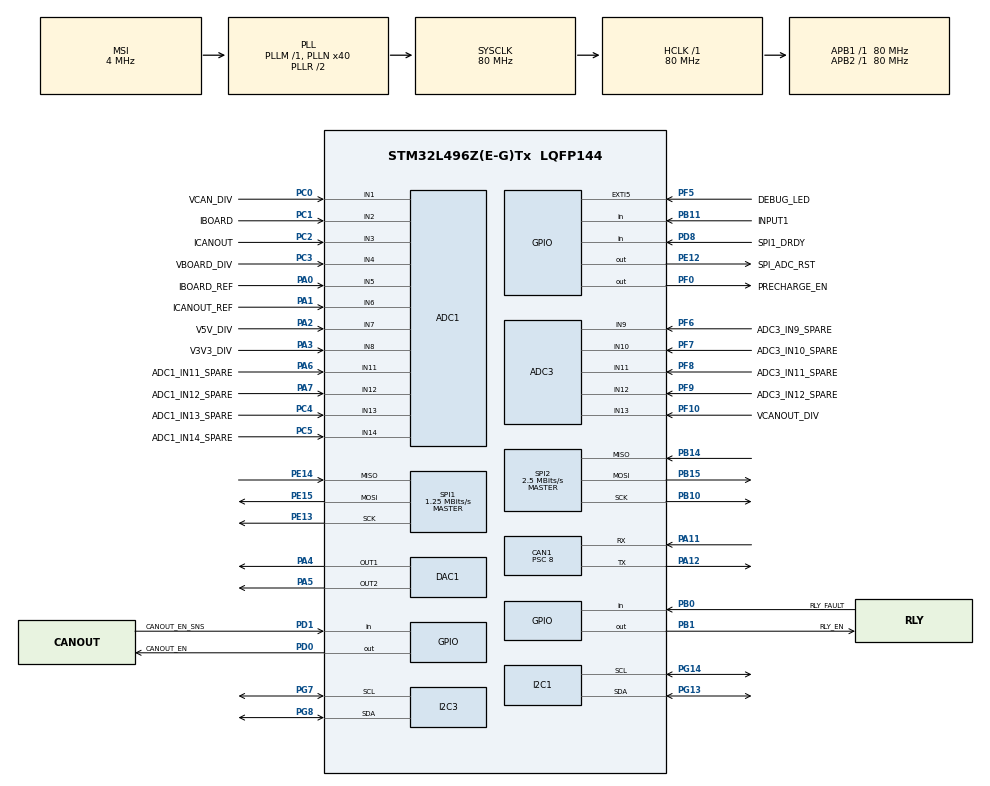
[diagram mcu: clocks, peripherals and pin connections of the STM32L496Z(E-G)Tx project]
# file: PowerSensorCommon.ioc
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ADC1.Channel-1\#ChannelRegularConversion=ADC_CHANNEL_1
ADC1.Channel-10\#ChannelRegularConversion=ADC_CHANNEL_12
ADC1.Channel-11\#ChannelRegularConversion=ADC_CHANNEL_13
ADC1.Channel-12\#ChannelRegularConversion=ADC_CHANNEL_14
ADC1.Channel-13\#ChannelRegularConversion=ADC_CHANNEL_VREFINT
ADC1.Channel-2\#ChannelRegularConversion=ADC_CHANNEL_2
ADC1.Channel-3\#ChannelRegularConversion=ADC_CHANNEL_3
ADC1.Channel-4\#ChannelRegularConversion=ADC_CHANNEL_4
ADC1.Channel-5\#ChannelRegularConversion=ADC_CHANNEL_5
ADC1.Channel-6\#ChannelRegularConversion=ADC_CHANNEL_6
ADC1.Channel-7\#ChannelRegularConversion=ADC_CHANNEL_7
ADC1.Channel-8\#ChannelRegularConversion=ADC_CHANNEL_8
ADC1.Channel-9\#ChannelRegularConversion=ADC_CHANNEL_11
ADC1.ClockPrescaler=ADC_CLOCK_ASYNC_DIV2
ADC1.ContinuousConvMode=ENABLE
ADC1.DMAContinuousRequests=ENABLE
ADC1.EOCSelection=ADC_EOC_SEQ_CONV
ADC1.NbrOfConversion=13
ADC1.NbrOfConversionFlag=1
ADC1.OffsetNumber-1\#ChannelRegularConversion=ADC_OFFSET_NONE
ADC1.OffsetNumber-10\#ChannelRegularConversion=ADC_OFFSET_NONE
ADC1.OffsetNumber-11\#ChannelRegularConversion=ADC_OFFSET_NONE
ADC1.OffsetNumber-12\#ChannelRegularConversion=ADC_OFFSET_NONE
ADC1.OffsetNumber-13\#ChannelRegularConversion=ADC_OFFSET_NONE
ADC1.OffsetNumber-2\#ChannelRegularConversion=ADC_OFFSET_NONE
ADC1.OffsetNumber-3\#ChannelRegularConversion=ADC_OFFSET_NONE
ADC1.OffsetNumber-4\#ChannelRegularConversion=ADC_OFFSET_NONE
ADC1.OffsetNumber-5\#ChannelRegularConversion=ADC_OFFSET_NONE
ADC1.OffsetNumber-6\#ChannelRegularConversion=ADC_OFFSET_NONE
ADC1.OffsetNumber-7\#ChannelRegularConversion=ADC_OFFSET_NONE
ADC1.OffsetNumber-8\#ChannelRegularConversion=ADC_OFFSET_NONE
ADC1.OffsetNumber-9\#ChannelRegularConversion=ADC_OFFSET_NONE
ADC1.OversamplingMode=ENABLE
ADC1.Rank-1\#ChannelRegularConversion=1
ADC1.Rank-10\#ChannelRegularConversion=10
ADC1.Rank-11\#ChannelRegularConversion=11
ADC1.Rank-12\#ChannelRegularConversion=12
ADC1.Rank-13\#ChannelRegularConversion=13
ADC1.Rank-2\#ChannelRegularConversion=2
ADC1.Rank-3\#ChannelRegularConversion=3
ADC1.Rank-4\#ChannelRegularConversion=4
ADC1.Rank-5\#ChannelRegularConversion=5
ADC1.Rank-6\#ChannelRegularConversion=6
ADC1.Rank-7\#ChannelRegularConversion=7
ADC1.Rank-8\#ChannelRegularConversion=8
ADC1.Rank-9\#ChannelRegularConversion=9
ADC1.Ratio=ADC_OVERSAMPLING_RATIO_256
ADC1.RightBitShift=ADC_RIGHTBITSHIFT_4
ADC1.SamplingTime-1\#ChannelRegularConversion=ADC_SAMPLETIME_247CYCLES_5
ADC1.SamplingTime-10\#ChannelRegularConversion=ADC_SAMPLETIME_247CYCLES_5
ADC1.SamplingTime-11\#ChannelRegularConversion=ADC_SAMPLETIME_247CYCLES_5
ADC1.SamplingTime-12\#ChannelRegularConversion=ADC_SAMPLETIME_247CYCLES_5
ADC1.SamplingTime-13\#ChannelRegularConversion=ADC_SAMPLETIME_247CYCLES_5
ADC1.SamplingTime-2\#ChannelRegularConversion=ADC_SAMPLETIME_247CYCLES_5
ADC1.SamplingTime-3\#ChannelRegularConversion=ADC_SAMPLETIME_247CYCLES_5
ADC1.SamplingTime-4\#ChannelRegularConversion=ADC_SAMPLETIME_247CYCLES_5
ADC1.SamplingTime-5\#ChannelRegularConversion=ADC_SAMPLETIME_247CYCLES_5
ADC1.SamplingTime-6\#ChannelRegularConversion=ADC_SAMPLETIME_247CYCLES_5
ADC1.SamplingTime-7\#ChannelRegularConversion=ADC_SAMPLETIME_247CYCLES_5
ADC1.SamplingTime-8\#ChannelRegularConversion=ADC_SAMPLETIME_247CYCLES_5
ADC1.SamplingTime-9\#ChannelRegularConversion=ADC_SAMPLETIME_247CYCLES_5
ADC1.master=1
ADC3.Channel-0\#ChannelRegularConversion=ADC_CHANNEL_9
ADC3.Channel-1\#ChannelRegularConversion=ADC_CHANNEL_10
ADC3.Channel-2\#ChannelRegularConversion=ADC_CHANNEL_11
ADC3.Channel-3\#ChannelRegularConversion=ADC_CHANNEL_12
ADC3.Channel-4\#ChannelRegularConversion=ADC_CHANNEL_13
ADC3.ClockPrescaler=ADC_CLOCK_ASYNC_DIV2
ADC3.ContinuousConvMode=ENABLE
ADC3.DMAContinuousRequests=ENABLE
ADC3.EOCSelection=ADC_EOC_SEQ_CONV
ADC3.NbrOfConversion=5
ADC3.NbrOfConversionFlag=1
ADC3.OffsetNumber-0\#ChannelRegularConversion=ADC_OFFSET_NONE
ADC3.OffsetNumber-1\#ChannelRegularConversion=ADC_OFFSET_NONE
ADC3.OffsetNumber-2\#ChannelRegularConversion=ADC_OFFSET_NONE
ADC3.OffsetNumber-3\#ChannelRegularConversion=ADC_OFFSET_NONE
ADC3.OffsetNumber-4\#ChannelRegularConversion=ADC_OFFSET_NONE
ADC3.OversamplingMode=ENABLE
ADC3.Rank-0\#ChannelRegularConversion=1
ADC3.Rank-1\#ChannelRegularConversion=2
ADC3.Rank-2\#ChannelRegularConversion=3
ADC3.Rank-3\#ChannelRegularConversion=4
ADC3.Rank-4\#ChannelRegularConversion=5
ADC3.Ratio=ADC_OVERSAMPLING_RATIO_256
ADC3.RightBitShift=ADC_RIGHTBITSHIFT_4
ADC3.SamplingTime-0\#ChannelRegularConversion=ADC_SAMPLETIME_247CYCLES_5
ADC3.SamplingTime-1\#ChannelRegularConversion=ADC_SAMPLETIME_247CYCLES_5
ADC3.SamplingTime-2\#ChannelRegularConversion=ADC_SAMPLETIME_247CYCLES_5
ADC3.SamplingTime-3\#ChannelRegularConversion=ADC_SAMPLETIME_247CYCLES_5
ADC3.SamplingTime-4\#ChannelRegularConversion=ADC_SAMPLETIME_247CYCLES_5
CAN1.BS1=CAN_BS1_4TQ
CAN1.BS2=CAN_BS2_5TQ
CAN1.CalculateBaudRate=1000000
CAN1.CalculateTimeBit=1000
CAN1.CalculateTimeQuantum=100.0
CAN1.Prescaler=8
DAC1.DAC_Channel-DAC_OUT2=DAC_CHANNEL_2
Dma.ADC1.0.Direction=DMA_PERIPH_TO_MEMORY
Dma.ADC1.0.Instance=DMA1_Channel1
Dma.ADC1.0.MemDataAlignment=DMA_MDATAALIGN_WORD
Dma.ADC1.0.MemInc=DMA_MINC_ENABLE
Dma.ADC1.0.Mode=DMA_CIRCULAR
Dma.ADC1.0.PeriphDataAlignment=DMA_PDATAALIGN_WORD
Dma.ADC1.0.PeriphInc=DMA_PINC_DISABLE
Dma.ADC1.0.Priority=DMA_PRIORITY_LOW
Dma.ADC3.1.Direction=DMA_PERIPH_TO_MEMORY
Dma.ADC3.1.Instance=DMA1_Channel3
Dma.ADC3.1.MemDataAlignment=DMA_MDATAALIGN_WORD
Dma.ADC3.1.MemInc=DMA_MINC_ENABLE
Dma.ADC3.1.Mode=DMA_CIRCULAR
Dma.ADC3.1.PeriphDataAlignment=DMA_PDATAALIGN_WORD
Dma.ADC3.1.PeriphInc=DMA_PINC_DISABLE
Dma.ADC3.1.Priority=DMA_PRIORITY_LOW
Dma.Request0=ADC1
Dma.Request1=ADC3
I2C1.Timing=0x10909CEC
I2C3.Timing=0x10909CEC
Mcu.Family=STM32L4
Mcu.Name=STM32L496Z(E-G)Tx
Mcu.Package=LQFP144
NVIC.CAN1_RX0_IRQn=true\:0\:0\:false\:false\:true\:true\:true\:true
NVIC.CAN1_RX1_IRQn=true\:0\:0\:false\:false\:true\:true\:true\:true
NVIC.DMA1_Channel1_IRQn=true\:0\:0\:false\:false\:true\:false\:true\:true
NVIC.DMA1_Channel3_IRQn=true\:0\:0\:false\:false\:true\:false\:true\:true
NVIC.PriorityGroup=NVIC_PRIORITYGROUP_4
PA0.GPIO_Label=IBOARD_REF
PA0.Signal=ADCx_IN5
PA1.GPIO_Label=ICANOUT_REF
PA1.Signal=ADCx_IN6
PA11.Mode=CAN_Activate
PA11.Signal=CAN1_RX
PA12.Mode=CAN_Activate
PA12.Signal=CAN1_TX
PA13\ (JTMS/SWDIO).Mode=Serial_Wire
PA13\ (JTMS/SWDIO).Signal=SYS_JTMS-SWDIO
PA14\ (JTCK/SWCLK).Mode=Serial_Wire
PA14\ (JTCK/SWCLK).Signal=SYS_JTCK-SWCLK
PA2.GPIO_Label=V5V_DIV
PA2.Signal=ADCx_IN7
PA3.GPIO_Label=V3V3_DIV
PA3.Signal=ADCx_IN8
PA4.Signal=COMP_DAC11_group
PA5.Signal=COMP_DAC12_group
PA6.GPIO_Label=ADC1_IN11_SPARE
PA6.Signal=ADCx_IN11
PA7.GPIO_Label=ADC1_IN12_SPARE
PA7.Signal=ADCx_IN12
PB0.GPIO_Label=RLY_FAULT
PB0.Signal=GPIO_Input
PB1.GPIO_Label=RLY_EN
PB1.Signal=GPIO_Output
PB10.Mode=Full_Duplex_Master
PB10.Signal=SPI2_SCK
PB11.GPIO_Label=INPUT1
PB11.Signal=GPIO_Input
PB12.Signal=CAN2_RX
PB14.Mode=Full_Duplex_Master
PB14.Signal=SPI2_MISO
PB15.Mode=Full_Duplex_Master
PB15.Signal=SPI2_MOSI
PC0.GPIO_Label=VCAN_DIV
PC0.Signal=ADCx_IN1
PC1.GPIO_Label=IBOARD
PC1.Signal=ADCx_IN2
PC2.GPIO_Label=ICANOUT
PC2.Signal=ADCx_IN3
PC3.GPIO_Label=VBOARD_DIV
PC3.Signal=ADCx_IN4
PC4.GPIO_Label=ADC1_IN13_SPARE
PC4.Signal=ADCx_IN13
PC5.GPIO_Label=ADC1_IN14_SPARE
PC5.Signal=ADCx_IN14
PD0.GPIO_Label=CANOUT_EN
PD0.Signal=GPIO_Output
PD1.GPIO_Label=CANOUT_EN_SNS
PD1.Signal=GPIO_Input
PD8.GPIO_Label=SPI1_DRDY
PD8.Signal=GPIO_Input
PE12.GPIO_Label=SPI_ADC_RST
PE12.Signal=GPIO_Output
PE13.Mode=Full_Duplex_Master
PE13.Signal=SPI1_SCK
PE14.Mode=Full_Duplex_Master
PE14.Signal=SPI1_MISO
PE15.Mode=Full_Duplex_Master
PE15.Signal=SPI1_MOSI
PF0.GPIO_Label=PRECHARGE_EN
PF0.Signal=GPIO_Output
PF10.GPIO_Label=VCANOUT_DIV
PF10.Mode=IN13-Single-Ended
PF10.Signal=ADC3_IN13
PF5.GPIO_Label=DEBUG_LED
PF5.Signal=GPXTI5
PF6.GPIO_Label=ADC3_IN9_SPARE
PF6.Mode=IN9-Single-Ended
PF6.Signal=ADC3_IN9
PF7.GPIO_Label=ADC3_IN10_SPARE
PF7.Mode=IN10-Single-Ended
PF7.Signal=ADC3_IN10
PF8.GPIO_Label=ADC3_IN11_SPARE
PF8.Mode=IN11-Single-Ended
PF8.Signal=ADC3_IN11
PF9.GPIO_Label=ADC3_IN12_SPARE
PF9.Mode=IN12-Single-Ended
PF9.Signal=ADC3_IN12
PG13.Mode=I2C
PG13.Signal=I2C1_SDA
PG14.Mode=I2C
PG14.Signal=I2C1_SCL
PG7.Mode=I2C
PG7.Signal=I2C3_SCL
PG8.Mode=I2C
PG8.Signal=I2C3_SDA
PH0-OSC_IN\ (PH0).Mode=HSE-External-Oscillator
PH0-OSC_IN\ (PH0).Signal=RCC_OSC_IN
PH1-OSC_OUT\ (PH1).Mode=HSE-External-Oscillator
PH1-OSC_OUT\ (PH1).Signal=RCC_OSC_OUT
ProjectManager.HeapSize=0x200
ProjectManager.StackSize=0x400
ProjectManager.TargetToolchain=STM32CubeIDE
RCC.ADCFreq_Value=32000000
RCC.AHBFreq_Value=80000000
RCC.APB1Freq_Value=80000000
RCC.APB1TimFreq_Value=80000000
RCC.APB2Freq_Value=80000000
RCC.APB2TimFreq_Value=80000000
RCC.CortexFreq_Value=80000000
RCC.HCLKFreq_Value=80000000
RCC.HSE_Timout=500
RCC.HSE_VALUE=8000000
RCC.HSI48_VALUE=48000000
RCC.HSI_VALUE=16000000
RCC.LSE_VALUE=32768
RCC.MSI_VALUE=4000000
RCC.PLLN=40
RCC.PLLSAI1N=16
RCC.SYSCLKFreq_VALUE=80000000
RCC.SYSCLKSource=RCC_SYSCLKSOURCE_PLLCLK
RCC.USBFreq_Value=32000000
RCC.VCOOutputFreq_Value=160000000
SH.ADCx_IN1.0=ADC1_IN1,IN1-Single-Ended
SH.ADCx_IN11.0=ADC1_IN11,IN11-Single-Ended
SH.ADCx_IN12.0=ADC1_IN12,IN12-Single-Ended
SH.ADCx_IN13.0=ADC1_IN13,IN13-Single-Ended
SH.ADCx_IN14.0=ADC1_IN14,IN14-Single-Ended
SH.ADCx_IN2.0=ADC2_IN2
SH.ADCx_IN2.1=ADC1_IN2,IN2-Single-Ended
SH.ADCx_IN3.0=ADC3_IN3
SH.ADCx_IN3.1=ADC1_IN3,IN3-Single-Ended
SH.ADCx_IN4.0=ADC3_IN4
SH.ADCx_IN4.1=ADC1_IN4,IN4-Single-Ended
SH.ADCx_IN5.0=ADC2_IN5
SH.ADCx_IN5.1=ADC1_IN5,IN5-Single-Ended
SH.ADCx_IN6.0=ADC2_IN6
SH.ADCx_IN6.1=ADC1_IN6,IN6-Single-Ended
SH.ADCx_IN7.0=ADC2_IN7
SH.ADCx_IN7.1=ADC1_IN7,IN7-Single-Ended
SH.ADCx_IN8.0=ADC2_IN8
SH.ADCx_IN8.1=ADC1_IN8,IN8-Single-Ended
SH.COMP_DAC11_group.0=DAC1_OUT1,DAC_OUT1
SH.COMP_DAC12_group.0=DAC1_OUT2,DAC_OUT2
SPI1.BaudRatePrescaler=SPI_BAUDRATEPRESCALER_64
SPI1.CLKPhase=SPI_PHASE_2EDGE
SPI1.CalculateBaudRate=1.25 MBits/s
SPI1.DataSize=SPI_DATASIZE_8BIT
SPI1.Direction=SPI_DIRECTION_2LINES
SPI1.Mode=SPI_MODE_MASTER
SPI1.VirtualType=VM_MASTER
SPI2.BaudRatePrescaler=SPI_BAUDRATEPRESCALER_32
SPI2.CLKPhase=SPI_PHASE_2EDGE
SPI2.CalculateBaudRate=2.5 MBits/s
SPI2.DataSize=SPI_DATASIZE_8BIT
SPI2.Direction=SPI_DIRECTION_2LINES
SPI2.Mode=SPI_MODE_MASTER
SPI2.VirtualType=VM_MASTER
VP_ADC1_Vref_Input.Mode=IN-Vrefint
board=custom

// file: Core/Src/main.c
/* USER CODE BEGIN Header */
/**
  ******************************************************************************
  * @file           : main.c
  * @brief          : Main program body
  ******************************************************************************
  * @attention
  *
  * <h2><center>&copy; Copyright (c) 2023 STMicroelectronics.
  * All rights reserved.</center></h2>
  *
  * This software component is licensed by ST under BSD 3-Clause license,
  * the "License"; You may not use this file except in compliance with the
  * License. You may obtain a copy of the License at:
  *                        opensource.org/licenses/BSD-3-Clause
  *
  ******************************************************************************
  */
/* USER CODE END Header */
#include "main.h"
#include "adc.h"
#include "can.h"
#include "dac.h"
#include "dma.h"
#include "i2c.h"
#include "spi.h"
#include "gpio.h"

/* USER CODE BEGIN Includes */
#include <string.h>
#include <math.h>
#include "global_defines.h"
#include "Device/common.h"
#include "Device/array_power_sense.h"
#include "State/state_machine.h"
#include "Power/power_control.h"
#include "Auto_Lib/auto_ADC.h"
#include "Interfaces/ADS124S08.h"
/* USER CODE END Includes */

/* USER CODE BEGIN PV */
volatile uint32_t adc1_dma_results[ADC1_CHANNELS_COUNT];
//volatile uint32_t adc2_dma_results[ADC2_CHANNELS_COUNT];
volatile uint32_t adc3_dma_results[ADC3_CHANNELS_COUNT];
double adc1_processed[ADC1_CHANNELS_COUNT];
//double adc2_processed[ADC2_CHANNELS_COUNT];
double adc3_processed[ADC3_CHANNELS_COUNT];

volatile int32_t ext_adc_results[EXT_CH_COUNT];
volatile float   ext_adc_volts[EXT_CH_COUNT];
volatile bool    g_can_hv_on_requested  = false;
volatile bool    g_can_hv_off_requested = false;
volatile float   g_mppt_max_temp_c      = 0.0f;
static float     mppt_temps[N_MPPTS]   = {0};  // per-MPPT hottest temp (controller or mosfet)
/* USER CODE END PV */

void SystemClock_Config(void);
void PeriphCommonClock_Config(void);
/* USER CODE BEGIN PFP */
static void _can_tx(uint32_t id, uint8_t *data, uint8_t len);
void can_tx_output_bus(void);
void can_tx_input_bus(void);
void can_tx_supply(void);
void can_tx_status(void);
void can_tx_temperature(void);
void can_send_status_ok(void);
void can_send_status_off(void);
void can_send_status_error(void);
/* USER CODE END PFP */

int main(void)
{

  /* MCU Configuration--------------------------------------------------------*/

  /* Reset of all peripherals, Initializes the Flash interface and the Systick. */
  HAL_Init();

  /* Configure the system clock */
  SystemClock_Config();

/* Configure the peripherals common clocks */
  PeriphCommonClock_Config();

  /* USER CODE BEGIN SysInit */
  HAL_Delay(100);
  /* USER CODE END SysInit */

  /* Initialize all configured peripherals */
  MX_GPIO_Init();
  MX_DMA_Init();
  MX_ADC1_Init();
  MX_CAN1_Init();
  MX_DAC1_Init();
  MX_I2C1_Init();
  MX_SPI2_Init();
  MX_ADC3_Init();
  MX_SPI1_Init();
  MX_I2C3_Init();
  /* USER CODE BEGIN 2 */

  autoADC_init();
  ADS_init();
  ADS_StartSampling();
  g_state_machine_init_states();

  /* Configure CAN RX filter — pass all standard IDs (software filtering in callback) */
  CAN_FilterTypeDef sFilterConfig = {0};
  sFilterConfig.FilterBank = 0;
  sFilterConfig.FilterMode = CAN_FILTERMODE_IDMASK;
  sFilterConfig.FilterScale = CAN_FILTERSCALE_32BIT;
  sFilterConfig.FilterIdHigh = 0x0000;
  sFilterConfig.FilterIdLow = 0x0000;
  sFilterConfig.FilterMaskIdHigh = 0x0000;
  sFilterConfig.FilterMaskIdLow = 0x0000;
  sFilterConfig.FilterFIFOAssignment = CAN_RX_FIFO0;
  sFilterConfig.FilterActivation = ENABLE;
  HAL_CAN_ConfigFilter(&hcan1, &sFilterConfig);
  HAL_CAN_Start(&hcan1);
  HAL_CAN_ActivateNotification(&hcan1, CAN_IT_RX_FIFO0_MSG_PENDING);

  /* USER CODE END 2 */

  /* Infinite loop */
  /* USER CODE BEGIN WHILE */

  while (1)
  {
	/* External ADC channel scan (DRDY polling, discard first sample after MUX change) */
	static ext_adc_channel_t ext_ch = EXT_CH_V3V3;
	static bool ext_discard = true;
	static const uint8_t ext_mux[EXT_CH_COUNT] = {
		EXT_ADC_MUX_V3V3, EXT_ADC_MUX_V5V,
		EXT_ADC_MUX_V_ARRAY, EXT_ADC_MUX_V_MPPT, EXT_ADC_MUX_I_ARRAY
	};
	static const float ext_scale[EXT_CH_COUNT] = {
		VSCALE_V3V3, VSCALE_V5V, VSCALE_V_ARRAY, VSCALE_V_MPPT, 1.0f
	};

	if (!HAL_GPIO_ReadPin(SPI1_DRDY_GPIO_Port, SPI1_DRDY_Pin)) {
		int32_t s = ADS_ReadSampleSigned();
		if (!ext_discard) {
			ext_adc_results[ext_ch] = s;
			if (ext_ch == EXT_CH_I_ARRAY) {
				/* Differential (AIN5-AIN2): both INA190A2 share same REF so it cancels.
				 * I(A) = V_diff / 0.025  (gain=50, shunt=0.5mΩ → 50*0.0005 = 0.025) */
				float v = (float)s * EXT_ADC_COUNTS_TO_V;
				ext_adc_volts[ext_ch] = v / 0.025f;
			} else {
				/* Single-ended vs AINCOM (2.5V): add offset back, then scale by divider */
				ext_adc_volts[ext_ch] = ((float)s * EXT_ADC_COUNTS_TO_V + EXT_ADC_AINCOM_OFFSET)
				                        * ext_scale[ext_ch];
			}
		}
		ext_ch = (ext_adc_channel_t)((ext_ch + 1) % EXT_CH_COUNT);
		ADS_WriteReg(INPMUX_ADDR_MASK, ext_mux[ext_ch]);
		ext_discard = true;
	} else {
		ext_discard = false;
	}

	/* Internal ADC — throttled processing */
	every_n_ms(30) {
		intADC_state.ADC1Pending = true;
		intADC_state.ADC3Pending = true;
		parse_adc();
	}

	/* State machine */
	g_state_machine_handle();

	/* CAN TX telemetry */
	every_n_ms(250) {
		can_tx_output_bus();   // 0x5F1: ARRAY_OUT, I_ARRAY
		can_tx_input_bus();    // 0x5F3: MPPT_IN
	}
	every_n_ms(500) {
		can_tx_supply();       // 0x5F4: VCAN, ICANOUT, VCANOUT, IBOARD
		can_tx_status();       // 0x5F5: status bits, 5V, 3V3
	}
	every_n_ms(1000) {
		can_tx_temperature();  // 0x5F7: board temp, terminal temps
	}

    /* USER CODE END WHILE */

  }
}

void SystemClock_Config(void)
{
  RCC_OscInitTypeDef RCC_OscInitStruct = {0};
  RCC_ClkInitTypeDef RCC_ClkInitStruct = {0};

  /** Configure the main internal regulator output voltage
  */
  if (HAL_PWREx_ControlVoltageScaling(PWR_REGULATOR_VOLTAGE_SCALE1) != HAL_OK)
  {
    Error_Handler();
  }

  /** Initializes the RCC Oscillators according to the specified parameters
  * in the RCC_OscInitTypeDef structure.
  */
  RCC_OscInitStruct.OscillatorType = RCC_OSCILLATORTYPE_MSI;
  RCC_OscInitStruct.MSIState = RCC_MSI_ON;
  RCC_OscInitStruct.MSICalibrationValue = 0;
  RCC_OscInitStruct.MSIClockRange = RCC_MSIRANGE_6;
  RCC_OscInitStruct.PLL.PLLState = RCC_PLL_ON;
  RCC_OscInitStruct.PLL.PLLSource = RCC_PLLSOURCE_MSI;
  RCC_OscInitStruct.PLL.PLLM = 1;
  RCC_OscInitStruct.PLL.PLLN = 40;
  RCC_OscInitStruct.PLL.PLLP = RCC_PLLP_DIV2;
  RCC_OscInitStruct.PLL.PLLQ = RCC_PLLQ_DIV2;
  RCC_OscInitStruct.PLL.PLLR = RCC_PLLR_DIV2;
  if (HAL_RCC_OscConfig(&RCC_OscInitStruct) != HAL_OK)
  {
    Error_Handler();
  }

  /** Initializes the CPU, AHB and APB buses clocks
  */
  RCC_ClkInitStruct.ClockType = RCC_CLOCKTYPE_HCLK|RCC_CLOCKTYPE_SYSCLK
                              |RCC_CLOCKTYPE_PCLK1|RCC_CLOCKTYPE_PCLK2;
  RCC_ClkInitStruct.SYSCLKSource = RCC_SYSCLKSOURCE_PLLCLK;
  RCC_ClkInitStruct.AHBCLKDivider = RCC_SYSCLK_DIV1;
  RCC_ClkInitStruct.APB1CLKDivider = RCC_HCLK_DIV1;
  RCC_ClkInitStruct.APB2CLKDivider = RCC_HCLK_DIV1;

  if (HAL_RCC_ClockConfig(&RCC_ClkInitStruct, FLASH_LATENCY_4) != HAL_OK)
  {
    Error_Handler();
  }
}

void PeriphCommonClock_Config(void)
{
  RCC_PeriphCLKInitTypeDef PeriphClkInit = {0};

  /** Initializes the peripherals clock
  */
  PeriphClkInit.PeriphClockSelection = RCC_PERIPHCLK_ADC;
  PeriphClkInit.AdcClockSelection = RCC_ADCCLKSOURCE_PLLSAI1;
  PeriphClkInit.PLLSAI1.PLLSAI1Source = RCC_PLLSOURCE_MSI;
  PeriphClkInit.PLLSAI1.PLLSAI1M = 1;
  PeriphClkInit.PLLSAI1.PLLSAI1N = 16;
  PeriphClkInit.PLLSAI1.PLLSAI1P = RCC_PLLP_DIV2;
  PeriphClkInit.PLLSAI1.PLLSAI1Q = RCC_PLLQ_DIV2;
  PeriphClkInit.PLLSAI1.PLLSAI1R = RCC_PLLR_DIV2;
  PeriphClkInit.PLLSAI1.PLLSAI1ClockOut = RCC_PLLSAI1_ADC1CLK;
  if (HAL_RCCEx_PeriphCLKConfig(&PeriphClkInit) != HAL_OK)
  {
    Error_Handler();
  }
}

/* USER CODE BEGIN 4 */

/* --------------------------------------------------------------------------
 * CAN RX callback
 * -------------------------------------------------------------------------- */
void HAL_CAN_RxFifo0MsgPendingCallback(CAN_HandleTypeDef *hcan) {
	CAN_RxHeaderTypeDef rx_hdr;
	uint8_t rx_data[8];
	HAL_CAN_GetRxMessage(hcan, CAN_RX_FIFO0, &rx_hdr, rx_data);

	if (rx_hdr.StdId == CAN_ID_ARRAY_COMMAND) {
		if (rx_data[0] == CAN_CMD_HV_ON)  g_can_hv_on_requested  = true;
		if (rx_data[0] == CAN_CMD_HV_OFF) g_can_hv_off_requested = true;
		/* Byte 1: CANBUS output cmd — reserved for future use */
	}

	/* MPPT temperature messages: 0x602, 0x612, 0x622, 0x632, 0x642 */
	uint32_t id = rx_hdr.StdId;
	if ((id & 0xFF0) >= 0x600 && (id & 0xFF0) <= 0x640 && (id & 0x00F) == 0x002) {
		uint8_t mppt_idx = (uint8_t)(((id & 0xFF0) - 0x600) >> 4);  // 0-4
		if (mppt_idx < N_MPPTS) {
			float controller_temp, mosfet_temp;
			memcpy(&controller_temp, &rx_data[0], 4);
			memcpy(&mosfet_temp,     &rx_data[4], 4);
			float max_local = (controller_temp > mosfet_temp) ? controller_temp : mosfet_temp;
			mppt_temps[mppt_idx] = max_local;  // overwrite — allows cooling

			/* Recompute global max from all MPPTs */
			float new_max = 0.0f;
			for (uint8_t i = 0; i < N_MPPTS; i++) {
				if (mppt_temps[i] > new_max) new_max = mppt_temps[i];
			}
			g_mppt_max_temp_c = new_max;
		}
	}
}

/* --------------------------------------------------------------------------
 * CAN TX helpers
 * -------------------------------------------------------------------------- */
static void _can_tx(uint32_t id, uint8_t *data, uint8_t len) {
	CAN_TxHeaderTypeDef hdr = {
		.StdId = id, .IDE = CAN_ID_STD, .RTR = CAN_RTR_DATA,
		.DLC = len, .TransmitGlobalTime = DISABLE
	};
	uint32_t mailbox;
	if (HAL_CAN_GetTxMailboxesFreeLevel(&hcan1) > 0)
		HAL_CAN_AddTxMessage(&hcan1, &hdr, data, &mailbox);
}

void can_tx_output_bus(void) {
	uint8_t buf[8];
	float v = V_ARRAY_OUT, i = I_ARRAY_EXT;
	memcpy(&buf[0], &v, 4);
	memcpy(&buf[4], &i, 4);
	_can_tx(CAN_ID_TX_OUT_BUS, buf, 8);
}

void can_tx_input_bus(void) {
	uint8_t buf[4];
	float v = V_MPPT_IN;
	memcpy(buf, &v, 4);
	_can_tx(CAN_ID_TX_IN_BUS, buf, 4);
}

void can_tx_supply(void) {
	uint8_t buf[8];
	uint16_t vcan   = (uint16_t)(VCAN_DIV   * 1000.0);
	uint16_t ican   = (uint16_t)(ICANOUT    * 1000.0);
	uint16_t vout   = (uint16_t)(VCANOUT_DIV * 1000.0);
	uint16_t iboard = (uint16_t)(IBOARD     * 1000.0);
	memcpy(&buf[0], &vcan,   2);
	memcpy(&buf[2], &ican,   2);
	memcpy(&buf[4], &vout,   2);
	memcpy(&buf[6], &iboard, 2);
	_can_tx(CAN_ID_TX_SUPPLY, buf, 8);
}

void can_tx_status(void) {
	uint8_t buf[8] = {0};
	buf[0] = (g_powerControlState.precharge_enabled ? 0x01 : 0x00)
	       | (g_powerControlState.hv_output_enabled  ? 0x10 : 0x00);
	uint16_t v5  = (uint16_t)(V5V_DIV  * 1000.0);
	uint16_t v33 = (uint16_t)(V3V3_DIV * 1000.0);
	memcpy(&buf[4], &v5,  2);
	memcpy(&buf[6], &v33, 2);
	_can_tx(CAN_ID_TX_STATUS, buf, 8);
}

/* NTC conversion: 0603R-NTC-10K, B25/50 = 3380K, R25 = 10KΩ
 * Circuit: 3V3 → 10K pullup → ADC → NTC → GND
 * Returns temperature in °C, or -273.15 on invalid input. */
static float ntc_voltage_to_celsius(double v_adc) {
	const float T0_K = 298.15f;   // 25°C in Kelvin

	if (v_adc <= 0.0 || v_adc >= (double)NTC_V_SUPPLY) return -273.15f;  // invalid

	float r_ntc = NTC_PULLUP * (float)v_adc / (NTC_V_SUPPLY - (float)v_adc);
	float t_k   = 1.0f / (logf(r_ntc / NTC_R25) / NTC_BETA + 1.0f / T0_K);
	return t_k - 273.15f;
}

void can_tx_temperature(void) {
	/* BOARD_TEMP0 (NTC under relay)  = ADC1_IN14 → adc1_processed[11]
	 * BOARD_TEMP1 (NTC near ADC)     = ADC3_IN12 → adc3_processed[3]
	 * NTC: 0603R-NTC-10K, B3380, 10K pullup to 3V3
	 * Format: uint16 in 0.01°C units (e.g. 2500 = 25.00°C) */
	uint8_t buf[6];
	float temp0 = ntc_voltage_to_celsius(ADC1_IN14_SPARE);
	float temp1 = ntc_voltage_to_celsius(ADC3_IN12_SPARE);
	uint16_t t0 = (temp0 > 0.0f) ? (uint16_t)(temp0 * 100.0f) : 0;
	uint16_t t1 = (temp1 > 0.0f) ? (uint16_t)(temp1 * 100.0f) : 0;
	uint16_t reserved = 0;
	memcpy(&buf[0], &t0,       2);
	memcpy(&buf[2], &t1,       2);
	memcpy(&buf[4], &reserved, 2);
	_can_tx(CAN_ID_TX_TEMP, buf, 6);
}

void can_send_status_ok(void)    { can_tx_status(); /* relay = on — status bits set by g_powerControlState */ }
void can_send_status_off(void)   { can_tx_status(); /* relay = off */ }
void can_send_status_error(void) {
	uint8_t buf[8] = {0};
	buf[0] = 0xFF;  // error flag
	_can_tx(CAN_ID_TX_STATUS, buf, 8);
}

/* USER CODE END 4 */

void Error_Handler(void)
{
  __disable_irq();
  while (1)
  {
  }
}
